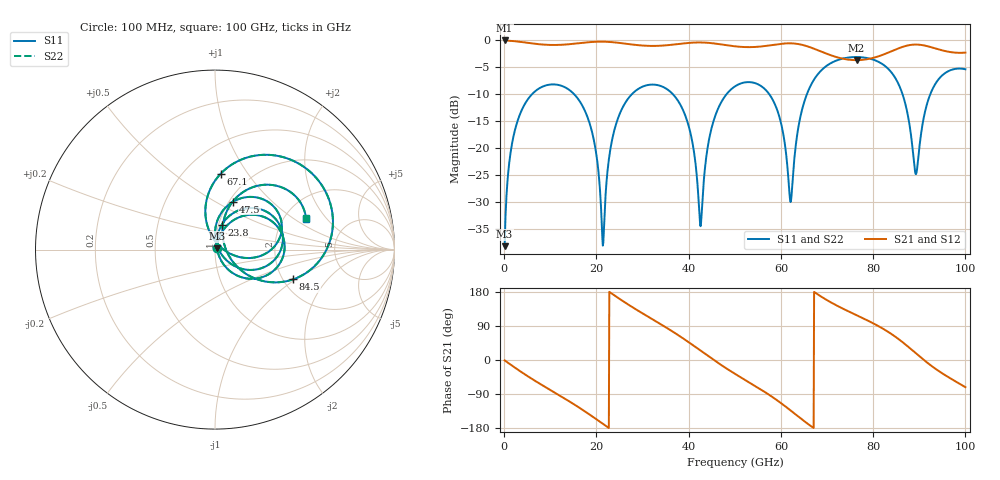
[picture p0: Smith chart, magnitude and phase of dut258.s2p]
! Touchstone file exported from HFSS 2026.1.0
!  File:  C:/ffzhzh/LocalFiles/Ansys_Project_Files/temp_train_TSV_RDL_258_1783672739_29156.aedt
!  Generated:  04:49:36 PM Jul 10, 2026
!  Design:  TSV_RDL
!  Project:  temp_train_TSV_RDL_258_1783672739_29156
! Variables:
!  h_bsmrdl = 3.52um
!  h_ox = 20um
!  h_rdl = 5um
!  h_sub = 92.95um
!  h_tmrdl = 3.6um
!  h_tsv = 92.95um
!  h_via = 3um
!  l_bsmrdl = 366.33um
!  l_sub = 2421.11um
!  l_tmrdl = 195.34um
!  m_sub = 200um
!  pitch = 46.13um
!  r_tsv = 8.74um
!  s_tmrdl = 10um
!  w_bsmrdl = 29.13um
!  w_sub = 500um
!  w_tmrdl = 17.79um
!  x_tsv_center1 = 204.235um
!  x_tsv_center2 = 599.695um
!  x_tsv_center3 = 812.825um
!  x_tsv_center4 = 1208.285um
!  x_tsv_center5 = 1421.415um
!  x_tsv_center6 = 1816.875um
# GHz S MA R 50.000000
! Terminal data exported
! Port[1] = TM_RDL1_1_T1
! Port[2] = TM_RDL5_1_T1
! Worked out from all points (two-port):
!   1000 points, 100 MHz to 100 GHz, reference 50 ohm
!   highest |S21| = -0.09 dB at 100 MHz (marker M1); lowest = -3.7 dB at 76.4 GHz (marker M2)
!   |S21| within 3 dB of the highest: start of sweep to 71.74 GHz; 80.92 GHz to end of sweep
!   lowest |S11| = -38.1 dB at 100 MHz (marker M3), VSWR 1.03, Z = 51 + j0.731 ohm
!   |S11| at or under -10 dB: 15.14 GHz to 27.72 GHz (12.57 GHz wide, 58.7 % of centre); 36.55 GHz to 48.25 GHz (11.69 GHz wide, 27.6 % of centre); 57.46 GHz to 65.65 GHz (8.193 GHz wide, 13.3 % of centre) (the widest 3 of 5)
!   |S22| runs from -38.3 to -3.2 dB; largest |S21 - S12| = 5e-12
!   S11 on the Smith chart (normalised r, x): 100 MHz: 1.02, +0.01; 23.8 GHz: 1.04, +0.29; 47.5 GHz: 1.04, +0.61; 67.1 GHz: 0.73, +0.76; 84.5 GHz: 2.26, -0.96; 100 GHz: 2.61, +1.27
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0.1  0.0124 35.3  0.99 -0.9  0.99 -0.9  0.0124 35.3
! Gamma 0 0 0 0
! Port Impedance 50 0 50 0
1.7  0.1094 67.7  0.9798 -14.8  0.9798 -14.8  0.1094 67.7
4.7  0.265 46.6  0.946 -39.5  0.946 -39.5  0.265 46.6
16.8  0.2537 -39.8  0.9395 -129.9  0.9395 -129.9  0.2537 -39.9
19.6  0.11 -58.7  0.9616 -153.0  0.9616 -153.0  0.11 -58.9
21.4  0.01256 4.3  0.9646 -168.3  0.9646 -168.3  0.01217 4.0
23.8  0.1416 74.9  0.9516 171.4  0.9516 171.4  0.1415 75.0
33.4  0.3815 7.6  0.883 98.4  0.883 98.4  0.3814 7.6
39.5  0.1879 -35.2  0.9351 51.2  0.9351 51.2  0.1878 -35.1
42.6  0.01897 28.7  0.9486 24.6  0.9486 24.6  0.01885 28.9
47.5  0.2856 69.2  0.9042 -16.8  0.9042 -16.8  0.2856 69.3
50.1  0.3737 50.9  0.8735 -36.9  0.8735 -36.9  0.3737 50.9
58.2  0.2813 -4.8  0.8999 -98.0  0.8999 -98.0  0.2813 -4.7
62.1  0.03175 44.8  0.9315 -133.1  0.9315 -133.1  0.03224 45.0
66.7  0.3968 88.6  0.8454 -176.1  0.8454 -176.1  0.3969 88.6
67.1  0.4247 85.6  0.8329 -179.5  0.8329 -179.5  0.4248 85.6
76.4  0.6956 28.0  0.6512 118.2  0.6512 118.2  0.6956 28.0
83.4  0.534 -13.2  0.7683 73.1  0.7683 73.1  0.534 -13.1
84.5  0.4666 -20.8  0.8041 64.1  0.8041 64.1  0.4666 -20.7
89.3  0.05748 21.3  0.9073 17.4  0.9073 17.4  0.05811 21.3
93  0.3606 63.6  0.8475 -18.7  0.8475 -18.7  0.3607 63.6
100  0.536 18.8  0.7648 -71.7  0.7648 -71.7  0.5359 18.9
